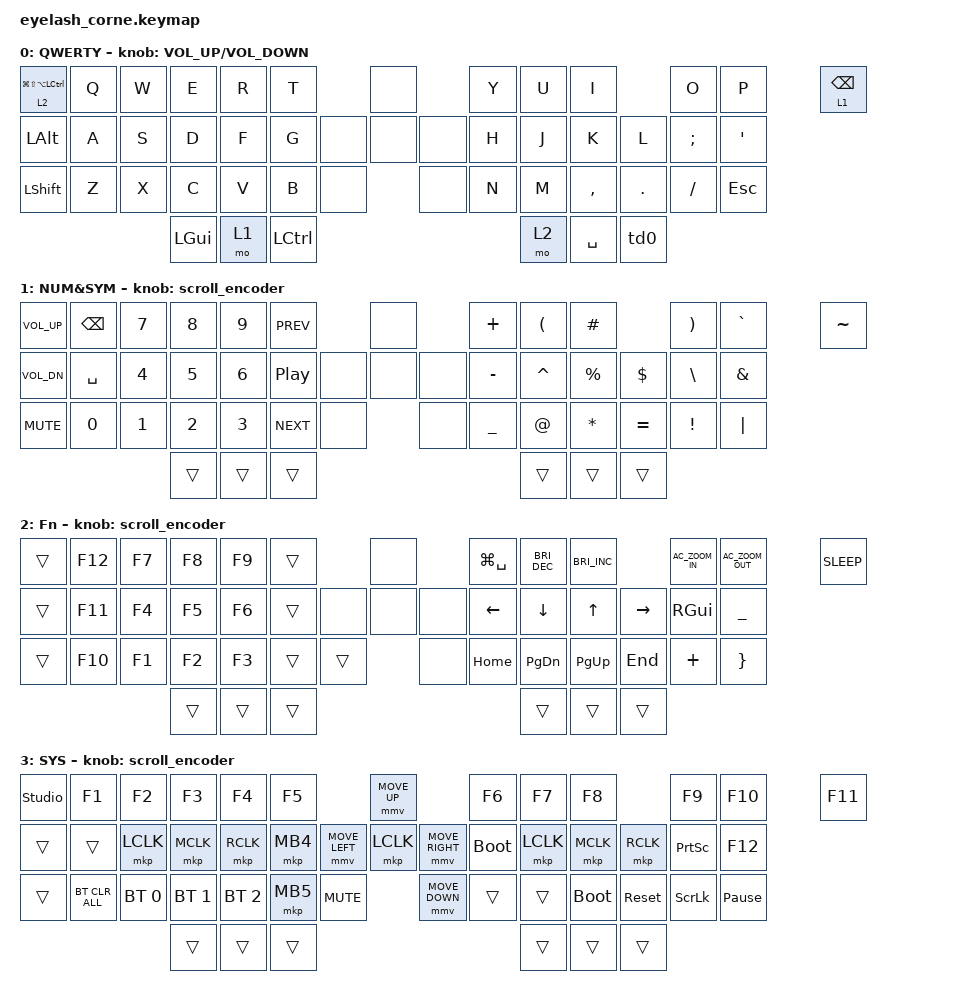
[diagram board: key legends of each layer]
#define ZMK_POINTING_DEFAULT_MOVE_VAL 1200  // 600
#define ZMK_POINTING_DEFAULT_SCRL_VAL 25   // 10

#include <input/processors.dtsi>
#include <zephyr/dt-bindings/input/input-event-codes.h>
#include <behaviors.dtsi>
#include <dt-bindings/zmk/bt.h>
#include <dt-bindings/zmk/ext_power.h>
#include <dt-bindings/zmk/keys.h>
#include <dt-bindings/zmk/outputs.h>
#include <dt-bindings/zmk/pointing.h>
#include <dt-bindings/zmk/rgb.h>
#include "./key-lable.h"

&mmv_input_listener { input-processors = <&zip_xy_scaler 2 1>; };

&msc_input_listener { input-processors = <&zip_scroll_scaler 2 1>; };

&msc {
    acceleration-exponent = <1>;      // 0
    time-to-max-speed-ms = <100>;       // 300
    delay-ms = <0>;                   // 0
};

&mmv {
    time-to-max-speed-ms = <500>;
    acceleration-exponent = <1>;
    trigger-period-ms = <16>;
};


/ {
    conditional_layers {
        compatible = "zmk,conditional-layers";
        tri_layer {
            if-layers = <1 2>;
            then-layer = <3>;
        };
    };

    combos {
          compatible = "zmk,combos";
          combo_esc {
              timeout-ms = <50>;
              key-positions = <2 15>;
              bindings = <&kp ESC>;
          };

          combo_tab {
              timeout-ms = <50>;
              layers = <0 2 3>;
              key-positions = <15 16>;
              bindings = <&kp TAB>;
          };

          combo_bspc {
              timeout-ms = <50>;
              key-positions = <8 23>;
              bindings = <&kp BSPC>;
          };

          combo_del {
              timeout-ms = <50>;
              key-positions = <10 25>;
              bindings = <&kp DEL>;
          };

          combo_r_space {
              timeout-ms = <50>;
              key-positions = <9 24>;
              bindings = <&kp SPACE>;
          };

          combo_lbkt {
              timeout-ms = <50>;
              key-positions = <8 9>;
              bindings = <&kp LBKT>;
          };

          combo_rbkt {
              timeout-ms = <50>;
              key-positions = <9 10>;
              bindings = <&kp RBKT>;
          };

          combo_grave {
              timeout-ms = <50>;
              key-positions = <14 15>;
              bindings = <&kp GRAVE>;
          };

          combo_r_esc {
              timeout-ms = <50>;
              key-positions = <7 22>;
              bindings = <&kp ESC>;
          };

          combo_l_enter {
              timeout-ms = <50>;
              key-positions = <17 32>;
              bindings = <&kp ENTER>;
          };

          combo_hyper {
              timeout-ms = <50>;
              key-positions = <3 16>;
              layers = <0 2 3>;
              bindings = <&sk LG(LS(LA(LCTRL)))>;
          };

          combo_up {
              timeout-ms = <50>;
              layers = <1>;
              key-positions = <3 16>;
              bindings = <&kp UP>;
          };

          combo_down {
              timeout-ms = <50>;
              layers = <1>;
              key-positions = <16 31>;
              bindings = <&kp DOWN>;
          };

          combo_left {
              timeout-ms = <50>;
              layers = <1>;
              key-positions = <15 16>;
              bindings = <&kp LEFT>;
          };

          combo_right {
              timeout-ms = <50>;
              layers = <1>;
              key-positions = <16 17>;
              bindings = <&kp RIGHT>;
          };

          combo_fn {
              timeout-ms = <50>;
              key-positions = <4 17>;
              bindings = <&kp GLOBE>;
          };

          combo_left_space {
              timeout-ms = <50>;
              key-positions = <16 17>;
              bindings = <&kp SPACE>;
          };

          combo_right_enter {
              timeout-ms = <50>;
              key-positions = <23 37>;
              bindings = <&kp ENTER>;
          };

    };

    behaviors {
        td0: td0 {
            compatible = "zmk,behavior-tap-dance";
            display-name = "Shift/Caps Lock Tap Dance";
            #binding-cells = <0>;
            bindings = <&kp RIGHT_SHIFT>, <&kp CAPS>;
        };

        mhsk: mode_hold_sticky_key {
            compatible = "zmk,behavior-hold-tap";
            flavor = "hold-preferred";
            tapping-term-ms = <200>;
            #binding-cells = <2>;
            bindings = <&mo>, <&sk>;
        };
    };

    rgb_encoder: rgb_encoder {
        compatible = "zmk,behavior-sensor-rotate";
        #sensor-binding-cells = <0>;
        bindings = <&rgb_ug RGB_BRI>, <&rgb_ug RGB_BRD>;
    };

    scroll_encoder: scroll_encoder {
        compatible = "zmk,behavior-sensor-rotate";
        #sensor-binding-cells = <0>;
        bindings = <&msc SCRL_DOWN>, <&msc SCRL_UP>;
        tap-ms = <100>;
    };

    keymap {
        compatible = "zmk,keymap";

        default_layer {
            display-name = "QWERTY";
            bindings = <
&mhsk 2 LG(LS(LA(LCTRL)))       &kp Q  &kp W      &kp E          &kp R        &kp T            &none                &kp Y        &kp U  &kp I      &kp O    &kp P     &lt 1 BSPC
&kp LALT   &kp A  &kp S      &kp D          &kp F        &kp G        &none &none &none         &kp H   &kp J  &kp K      &kp L    &kp SEMI  &kp SQT
&kp LSHFT   &kp Z  &kp X      &kp C          &kp V        &kp B        &none &none              &kp N        &kp M  &kp COMMA  &kp DOT  &kp FSLH  &kp ESC
                                 &kp LGUI     &mo 1   &kp LCTRL                                          &mo 2      &kp SPACE       &td0
            >;
            sensor-bindings = <&inc_dec_kp C_VOLUME_UP C_VOLUME_DOWN>;
        };

        lower_layer {
            display-name = "NUM&SYM";
            bindings = <
&kp C_VOL_UP  &kp BSPC    &kp N7    &kp N8        &kp N9  &kp C_PREV              &none            &kp PLUS  &kp LPAR    &kp HASH   &kp RPAR   &kp GRAVE    &kp TILDE
&kp C_VOL_DN  &kp SPACE   &kp N4    &kp N5        &kp N6        &kp C_PP     &none &none &none     &kp MINUS  &kp CARET   &kp PRCNT  &kp DLLR  &kp BSLH  &kp AMPS
&kp C_MUTE  &kp N0         &kp N1    &kp N2        &kp N3        &kp C_NEXT      &none &none       &kp UNDER  &kp AT  &kp ASTRK  &kp EQUAL  &kp EXCL   &kp PIPE
                                         &trans        &trans        &trans                                                         &trans      &trans      &trans          
            >;
            sensor-bindings = <&scroll_encoder>;
        };

        raise_layer {
            display-name = "Fn";
            bindings = <
&trans  &kp F12  &kp F7      &kp F8          &kp F9        &trans           &none              &kp LG(SPACE) &kp C_BRI_DEC  &kp C_BRI_INC   &kp C_AC_ZOOM_IN  &kp C_AC_ZOOM_OUT  &kp C_SLEEP
&trans  &kp F11  &kp F4      &kp F5          &kp F6        &trans     &none &none &none        &kp LEFT     &kp DOWN     &kp UP     &kp RIGHT    &kp RGUI  &kp UNDER
&trans  &kp F10  &kp F1      &kp F2          &kp F3        &trans     &trans &none             &kp HOME  &kp PG_DN   &kp PG_UP   &kp END  &kp PLUS   &kp RBRC
                                    &trans  &trans     &trans                                                  &trans     &trans     &trans
            >;
            sensor-bindings = <&scroll_encoder>;
        };

        layer_3 {
            display-name = "SYS";
            bindings = <
&studio_unlock  &kp F1      &kp F2     &kp F3       &kp F4     &kp F5                                  &mmv MOVE_UP                     &kp F6       &kp F7     &kp F8       &kp F9      &kp F10          &kp F11
&trans          &trans      &mkp LCLK  &mkp MCLK    &mkp RCLK  &mkp MB4                &mmv MOVE_LEFT  &mkp LCLK       &mmv MOVE_RIGHT  &bootloader  &mkp LCLK  &mkp MCLK    &mkp RCLK   &kp PRINTSCREEN  &kp F12
&trans          &bt BT_CLR_ALL   &bt BT_SEL 0    &bt BT_SEL 1  &bt BT_SEL 2     &mkp MB5  &kp C_MUTE                    &mmv MOVE_DOWN                   &trans       &trans     &bootloader  &sys_reset  &kp SCROLLLOCK   &kp PAUSE_BREAK
                                       &trans       &trans     &trans                                                                   &trans       &trans     &trans
            >;

                        sensor-bindings = <&scroll_encoder>;
        };
    };
};
